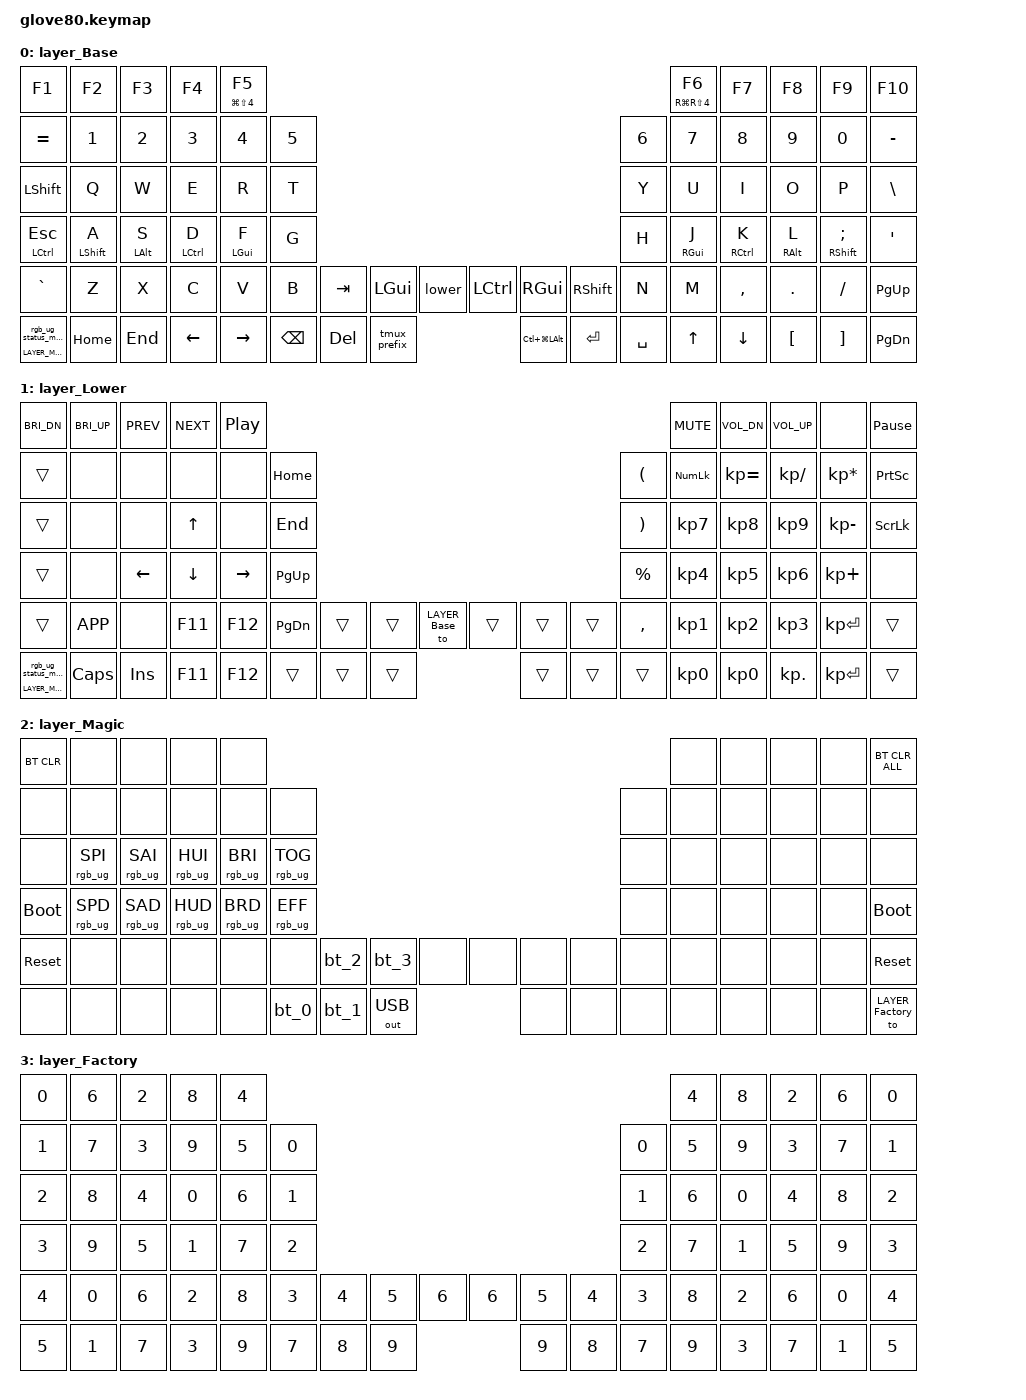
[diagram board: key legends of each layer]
/*
 * Copyright (c) 2020 The ZMK Contributors
 * Copyright (c) 2025 Innaworks Development Limited, trading as MoErgo
 *
 * SPDX-License-Identifier: MIT
 */

#include <behaviors.dtsi>
#include <dt-bindings/zmk/bt.h>
#include <dt-bindings/zmk/keys.h>
#include <dt-bindings/zmk/outputs.h>
#include <dt-bindings/zmk/rgb.h>

/* Layer defines */

#define LAYER_Base    0
#define LAYER_Lower   1
#define LAYER_Magic   2
#define LAYER_Factory 3

/* Key position groups for positional hold-tap */

#define KEYS_LEFT \
    0  1  2  3  4 \
    10 11 12 13 14 15 \
    22 23 24 25 26 27 \
    34 35 36 37 38 39 \
    46 47 48 49 50 51 \
    64 65 66 67 68
#define KEYS_RIGHT \
    5  6  7  8  9 \
    16 17 18 19 20 21 \
    28 29 30 31 32 33 \
    40 41 42 43 44 45 \
    58 59 60 61 62 63 \
    75 76 77 78 79
#define THUMBS_LEFT  52 53 54 69 70 71
#define THUMBS_RIGHT 55 56 57 72 73 74

/ {
    behaviors {
        /* Layer tap-dance: tap = mo, double tap = to */

        lower: tap_dance_lower {
            compatible = "zmk,behavior-tap-dance";
            #binding-cells = <0>;
            tapping-term-ms = <200>;
            bindings = <&mo LAYER_Lower>, <&to LAYER_Lower>;
        };

        /* Magic hold-tap */

        magic: magic_hold_tap {
            compatible = "zmk,behavior-hold-tap";
            #binding-cells = <2>;
            flavor = "tap-preferred";
            tapping-term-ms = <200>;
            bindings = <&mo>, <&rgb_ug_status_macro>;
        };

        /* ESC tap, Ctrl hold */

        esc_ctrl: esc_ctrl {
            compatible = "zmk,behavior-hold-tap";
            #binding-cells = <2>;
            flavor = "balanced";
            tapping-term-ms = <280>;
            quick-tap-ms = <175>;
            require-prior-idle-ms = <150>;
            bindings = <&kp>, <&kp>;

            hold-trigger-key-positions = <KEYS_RIGHT THUMBS_RIGHT>;
            hold-trigger-on-release;
        };

        /* Home row mod — left hand
         * Hold triggers only when followed by a key on the RIGHT side */

        hml: hml {
            compatible = "zmk,behavior-hold-tap";
            #binding-cells = <2>;
            flavor = "balanced";
            tapping-term-ms = <280>;
            quick-tap-ms = <175>;
            require-prior-idle-ms = <150>;
            bindings = <&kp>, <&kp>;

            hold-trigger-key-positions = <KEYS_RIGHT THUMBS_RIGHT>;
            hold-trigger-on-release;
        };

        /* Home row mod — right hand
         * Hold triggers only when followed by a key on the LEFT side */

        hmr: hmr {
            compatible = "zmk,behavior-hold-tap";
            #binding-cells = <2>;
            flavor = "balanced";
            tapping-term-ms = <280>;
            quick-tap-ms = <175>;
            require-prior-idle-ms = <150>;
            bindings = <&kp>, <&kp>;

            hold-trigger-key-positions = <KEYS_LEFT THUMBS_LEFT>;
            hold-trigger-on-release;
        };
    };

    macros {
        rgb_ug_status_macro: rgb_ug_status_macro {
            compatible = "zmk,behavior-macro";
            #binding-cells = <0>;
            bindings = <&rgb_ug RGB_STATUS>;
        };

        bt_0: bt_0 {
            compatible = "zmk,behavior-macro";
            #binding-cells = <0>;
            bindings = <&out OUT_BLE &bt BT_SEL 0>;
        };

        bt_1: bt_1 {
            compatible = "zmk,behavior-macro";
            #binding-cells = <0>;
            bindings = <&out OUT_BLE &bt BT_SEL 1>;
        };

        bt_2: bt_2 {
            compatible = "zmk,behavior-macro";
            #binding-cells = <0>;
            bindings = <&out OUT_BLE &bt BT_SEL 2>;
        };

        bt_3: bt_3 {
            compatible = "zmk,behavior-macro";
            #binding-cells = <0>;
            bindings = <&out OUT_BLE &bt BT_SEL 3>;
        };

        /* Sends Ctrl+A (tmux prefix) as a single keypress */

        tmux_prefix: tmux_prefix {
            compatible = "zmk,behavior-macro";
            #binding-cells = <0>;
            bindings =
                <&macro_press>,
                <&kp LCTRL>,
                <&macro_tap>,
                <&kp A>,
                <&macro_release>,
                <&kp LCTRL>;
        };
    };

    keymap {
        compatible = "zmk,keymap";

        layer_Base {
            bindings = <
&kp F1                &kp F2        &kp F3       &kp F4        &mt LG(LS(NUMBER_4)) F5                                                                                        &mt RG(RS(NUMBER_4)) F6  &kp F7        &kp F8       &kp F9           &kp F10
&kp EQUAL             &kp N1        &kp N2       &kp N3        &kp N4                   &kp N5                                                                        &kp N6  &kp N7                   &kp N8        &kp N9       &kp N0           &kp MINUS
&kp LSHFT             &kp Q         &kp W        &kp E         &kp R                    &kp T                                                                         &kp Y   &kp U                    &kp I         &kp O        &kp P            &kp BSLH
&esc_ctrl LCTRL ESC   &hml LSHFT A  &hml LALT S  &hml LCTRL D  &hml LGUI F              &kp G                                                                         &kp H   &hmr RGUI J              &hmr RCTRL K  &hmr RALT L  &hmr RSHFT SEMI  &kp SQT
&kp GRAVE             &kp Z         &kp X        &kp C         &kp V                    &kp B   &kp TAB    &kp LGUI  &lower    &kp LCTRL         &kp RGUI  &kp RSHFT  &kp N   &kp M                    &kp COMMA     &kp DOT      &kp FSLH         &kp PG_UP
&magic LAYER_Magic 0  &kp HOME      &kp END      &kp LEFT      &kp RIGHT                        &kp BSPC   &kp DEL   &tmux_prefix  &kp LC(LG(LALT))  &kp RET   &kp SPACE          &kp UP                   &kp DOWN      &kp LBKT     &kp RBKT         &kp PG_DN
            >;
        };

        layer_Lower {
            bindings = <
&kp C_BRI_DN          &kp C_BRI_UP  &kp C_PREV  &kp C_NEXT  &kp C_PP                                                                                 &kp C_MUTE  &kp C_VOL_DN  &kp C_VOL_UP  &none            &kp PAUSE_BREAK
&trans                &none         &none       &none       &none      &kp HOME                                                           &kp LPAR   &kp KP_NUM  &kp KP_EQUAL  &kp KP_SLASH  &kp KP_MULTIPLY  &kp PRINTSCREEN
&trans                &none         &none       &kp UP      &none      &kp END                                                            &kp RPAR   &kp KP_N7   &kp KP_N8     &kp KP_N9     &kp KP_MINUS     &kp SCROLLLOCK
&trans                &none         &kp LEFT    &kp DOWN    &kp RIGHT  &kp PG_UP                                                          &kp PRCNT  &kp KP_N4   &kp KP_N5     &kp KP_N6     &kp KP_PLUS      &none
&trans                &kp K_APP     &none       &kp F11     &kp F12    &kp PG_DN  &trans  &trans  &to LAYER_Base  &trans  &trans  &trans  &kp COMMA  &kp KP_N1   &kp KP_N2     &kp KP_N3     &kp KP_ENTER     &trans
&magic LAYER_Magic 0  &kp CAPS      &kp INS     &kp F11     &kp F12               &trans  &trans  &trans          &trans  &trans  &trans             &kp KP_N0   &kp KP_N0     &kp KP_DOT    &kp KP_ENTER     &trans
            >;
        };

        layer_Magic {
            bindings = <
&bt BT_CLR   &none            &none            &none            &none                                                                                     &none  &none  &none  &none  &bt BT_CLR_ALL
&none        &none            &none            &none            &none            &none                                                             &none  &none  &none  &none  &none  &none
&none        &rgb_ug RGB_SPI  &rgb_ug RGB_SAI  &rgb_ug RGB_HUI  &rgb_ug RGB_BRI  &rgb_ug RGB_TOG                                                   &none  &none  &none  &none  &none  &none
&bootloader  &rgb_ug RGB_SPD  &rgb_ug RGB_SAD  &rgb_ug RGB_HUD  &rgb_ug RGB_BRD  &rgb_ug RGB_EFF                                                   &none  &none  &none  &none  &none  &bootloader
&sys_reset   &none            &none            &none            &none            &none            &bt_2  &bt_3  &none         &none  &none  &none  &none  &none  &none  &none  &none  &sys_reset
&none        &none            &none            &none            &none                             &bt_0  &bt_1  &out OUT_USB  &none  &none  &none         &none  &none  &none  &none  &to LAYER_Factory
            >;
        };

        layer_Factory {
            bindings = <
&kp N0  &kp N6  &kp N2  &kp N8  &kp N4                                                                  &kp N4  &kp N8  &kp N2  &kp N6  &kp N0
&kp N1  &kp N7  &kp N3  &kp N9  &kp N5  &kp N0                                                  &kp N0  &kp N5  &kp N9  &kp N3  &kp N7  &kp N1
&kp N2  &kp N8  &kp N4  &kp N0  &kp N6  &kp N1                                                  &kp N1  &kp N6  &kp N0  &kp N4  &kp N8  &kp N2
&kp N3  &kp N9  &kp N5  &kp N1  &kp N7  &kp N2                                                  &kp N2  &kp N7  &kp N1  &kp N5  &kp N9  &kp N3
&kp N4  &kp N0  &kp N6  &kp N2  &kp N8  &kp N3  &kp N4  &kp N5  &kp N6  &kp N6  &kp N5  &kp N4  &kp N3  &kp N8  &kp N2  &kp N6  &kp N0  &kp N4
&kp N5  &kp N1  &kp N7  &kp N3  &kp N9          &kp N7  &kp N8  &kp N9  &kp N9  &kp N8  &kp N7          &kp N9  &kp N3  &kp N7  &kp N1  &kp N5
            >;
        };
    };
};
